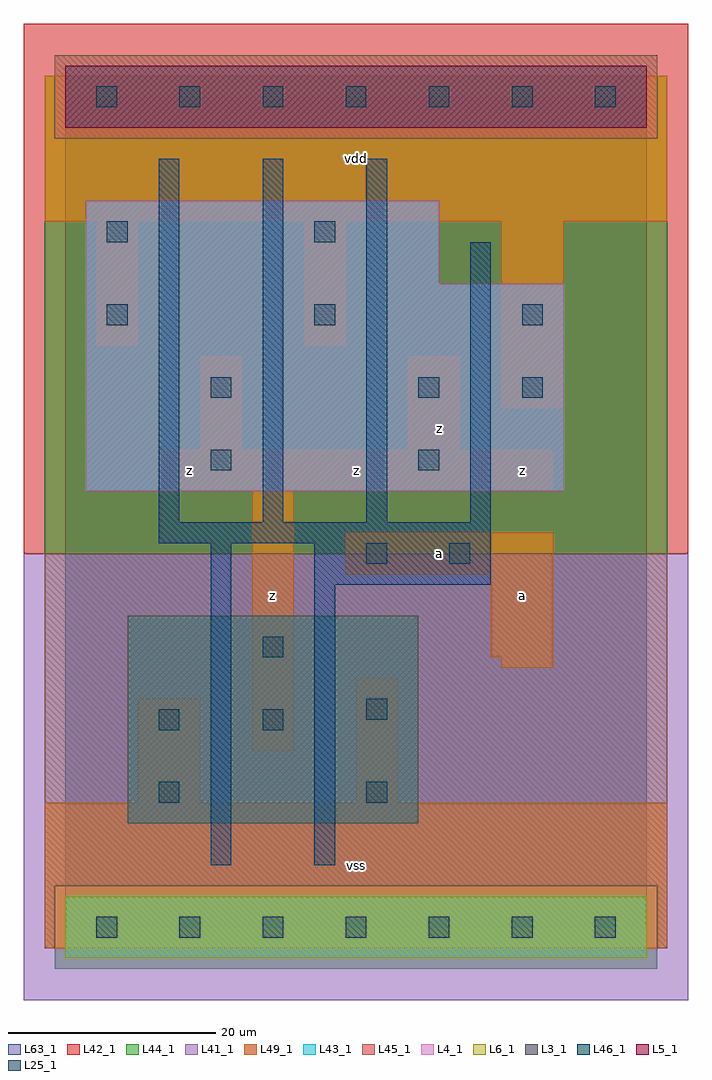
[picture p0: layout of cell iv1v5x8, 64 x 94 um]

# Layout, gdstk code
import gdstk
lib = gdstk.Library(unit=1e-6, precision=1e-09)
def R(c, l, rs):  # rectangles x0, y0, x1, y1
    for r in rs: c.add(gdstk.rectangle(r[:2], r[2:], *l))
def A(c, l, x, y, w, h, nx, ny, dx, dy):  # array of equal rectangles
    R(c, l, [(x+i*dx, y+j*dy, x+i*dx+w, y+j*dy+h) for i in range(nx) for j in range(ny)])
L3_1 = (3, 1)
L4_1 = (4, 1)
L5_1 = (5, 1)
L6_1 = (6, 1)
L25_1 = (25, 1)
L41_1 = (41, 1)
L42_1 = (42, 1)
L43_1 = (43, 1)
L44_1 = (44, 1)
L45_1 = (45, 1)
L46_1 = (46, 1)
L49_1 = (49, 1)
L63_1 = (63, 1)

iv1v5x8 = lib.new_cell('iv1v5x8')
R(iv1v5x8, L3_1, [(6,10,34,30)])
R(iv1v5x8, L4_1, [(2,42,48,62), (2,62,36,70)])
R(iv1v5x8, L5_1, [(0,77,56,83)])
R(iv1v5x8, L6_1, [(0,-3,56,3), (0,-3,56,3)])
A(iv1v5x8, L25_1, 3, -1, 2, 2, 7, 2, 8, 80)
A(iv1v5x8, L25_1, 4, 58, 2, 2, 3, 1, 20, 0)
R(iv1v5x8, L25_1, [(9,12,11,14), (29,12,31,14), (9,19,11,21), (19,19,21,21), (29,20,31,22), (19,26,21,28), (29,35,31,37), (37,35,39,37), (14,44,16,46), (34,44,36,46), (14,51,16,53), (34,51,36,53), (44,51,46,53), (4,66,6,68), (24,66,26,68)])
R(iv1v5x8, L41_1, [(-4,-7,60,36)])
R(iv1v5x8, L42_1, [(-4,36,60,87)])
R(iv1v5x8, L43_1, [(0,-3,56,3), (6,10,34,30), (2,42,48,62), (2,62,36,70), (0,77,56,83)])
R(iv1v5x8, L44_1, [(-1,-4,57,4), (-2,36,58,76), (-2,76,-1,82), (57,76,58,82)])
R(iv1v5x8, L45_1, [(-2,-2,-1,4), (57,-2,58,4), (-2,4,58,36), (-1,76,57,84)])
A(iv1v5x8, L46_1, 9, 39, 2, 35, 3, 1, 10, 0)
R(iv1v5x8, L46_1, [(14,6,16,37), (24,6,26,33), (24,33,41,37), (9,37,41,39), (39,39,41,66)])
R(iv1v5x8, L49_1, [(-2,-2,58,12), (7,12,13,22), (28,12,32,24), (18,17,22,42), (42,25,47,26), (41,26,47,34), (27,34,47,38), (9,42,47,46), (13,46,17,55), (33,46,38,55), (42,50,48,68), (3,56,7,68), (23,56,27,68), (-2,68,58,82)])
R(iv1v5x8, L63_1, [(0,0,56,80)])
iv1v5x8.add(gdstk.Label('z', (20,32), layer=49, texttype=1))
iv1v5x8.add(gdstk.Label('z', (12,44), layer=49, texttype=1))
iv1v5x8.add(gdstk.Label('vss', (28,6), layer=49, texttype=1))
iv1v5x8.add(gdstk.Label('a', (36,36), layer=49, texttype=1))
iv1v5x8.add(gdstk.Label('z', (28,44), layer=49, texttype=1))
iv1v5x8.add(gdstk.Label('z', (36,48), layer=49, texttype=1))
iv1v5x8.add(gdstk.Label('vdd', (28,74), layer=49, texttype=1))
iv1v5x8.add(gdstk.Label('a', (44,32), layer=49, texttype=1))
iv1v5x8.add(gdstk.Label('z', (44,44), layer=49, texttype=1))

lib.write_gds('iv1v5x8.gds')
